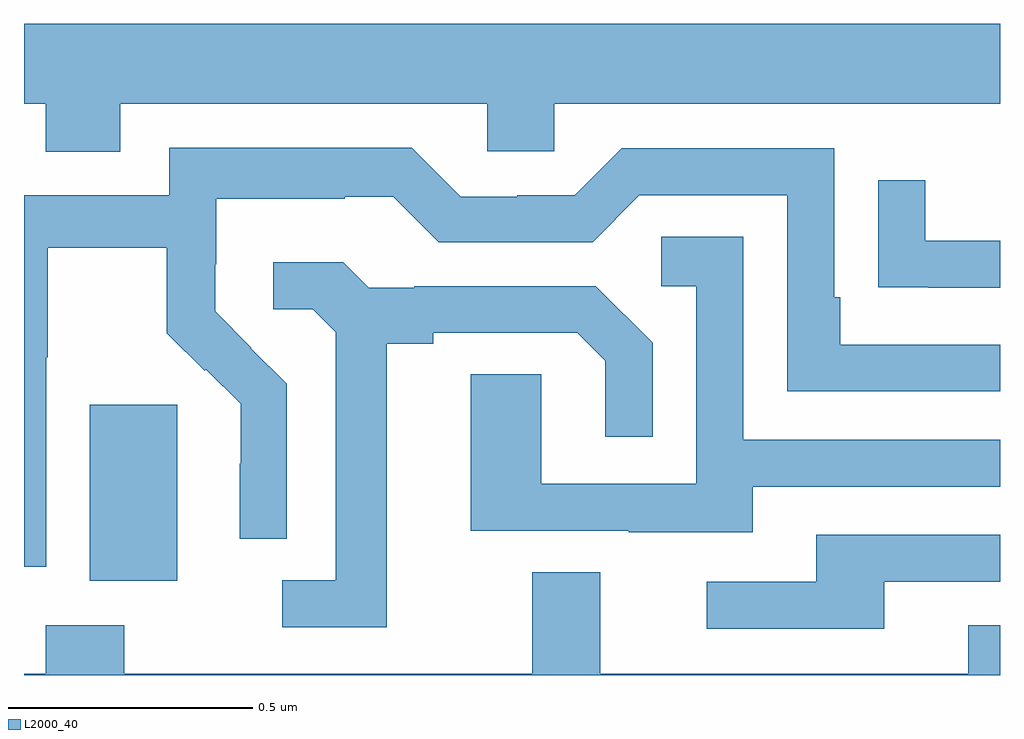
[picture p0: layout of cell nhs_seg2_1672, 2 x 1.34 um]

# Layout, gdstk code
import gdstk
lib = gdstk.Library(unit=1e-6, precision=1e-09)
def R(c, l, rs):  # rectangles x0, y0, x1, y1
    for r in rs: c.add(gdstk.rectangle(r[:2], r[2:], *l))
def P(c, l, *ps):  # polygons
    for p in ps: c.add(gdstk.Polygon(p, *l))
L2000_40 = (2000, 40)

nhs_seg2_1672 = lib.new_cell('nhs_seg2_1672')
R(nhs_seg2_1672, L2000_40, [(131.135,643.994,131.314,644.355)])
P(nhs_seg2_1672, L2000_40, [(131.197,644.972),(131.949,644.972),(131.949,644.874),(132.087,644.874),(132.087,644.972),(133,644.972),(133,645.136),(131,645.136),(131,644.972),(131.045,644.972),(131.045,644.873),(131.197,644.873)],
  [(131.046,644.452),(131.049,644.452),(131.049,644.676),(131.293,644.676),(131.293,644.501),(131.37,644.424),(131.373,644.427),(131.444,644.357),(131.444,644.234),(131.442,644.234),(131.442,644.08),(131.538,644.08),(131.538,644.398),(131.465,644.471),(131.466,644.472),(131.392,644.546),(131.392,644.643),(131.394,644.643),(131.394,644.777),(131.657,644.777),(131.657,644.781),(131.757,644.781),(131.85,644.688),(132.165,644.688),(132.261,644.784),(132.564,644.784),(132.564,644.382),(133,644.382),(133,644.478),(132.673,644.478),(132.673,644.575),(132.66,644.575),(132.66,644.88),(132.225,644.88),(132.129,644.784),(132.011,644.784),(132.011,644.781),(131.895,644.781),(131.795,644.881),(131.298,644.881),(131.298,644.784),(131,644.784),(131,644.023),(131.046,644.023)],
  [(133,644.691),(132.847,644.691),(132.847,644.815),(132.751,644.815),(132.751,644.596),(132.853,644.596),(132.853,644.595),(133,644.595)],
  [(132.493,644.187),(133,644.187),(133,644.283),(132.474,644.283),(132.474,644.699),(132.306,644.699),(132.306,644.598),(132.378,644.598),(132.378,644.193),(132.06,644.193),(132.06,644.417),(131.915,644.417),(131.915,644.097),(132.239,644.097),(132.239,644.093),(132.493,644.093)],
  [(131.743,644.48),(131.839,644.48),(131.839,644.502),(132.134,644.502),(132.191,644.445),(132.191,644.289),(132.288,644.289),(132.288,644.482),(132.172,644.598),(131.8,644.598),(131.8,644.595),(131.706,644.595),(131.654,644.647),(131.511,644.647),(131.511,644.55),(131.592,644.55),(131.639,644.503),(131.639,643.995),(131.529,643.995),(131.529,643.899),(131.743,643.899)],
  [(132.763,643.992),(133,643.992),(133,644.088),(132.623,644.088),(132.623,643.992),(132.399,643.992),(132.399,643.896),(132.763,643.896)],
  [(133,643.903),(132.935,643.903),(132.935,643.804),(132.181,643.804),(132.181,644.012),(132.041,644.012),(132.041,643.804),(131.205,643.804),(131.205,643.903),(131.045,643.903),(131.045,643.804),(131,643.804),(131,643.8),(133,643.8)])

lib.write_gds('nhs_seg2_1672.gds')
